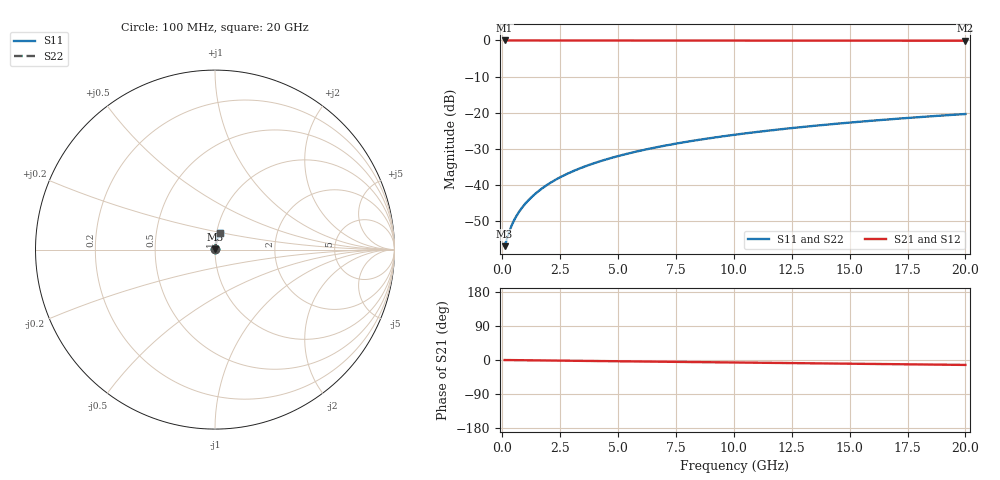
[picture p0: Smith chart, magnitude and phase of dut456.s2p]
! Touchstone file exported from HFSS 2026.1.0
!  File:  C:/ffzhzh/LocalFiles/Ansys_Project_Files/temp_train_BSMRDL_456_1783013396_53980.aedt
!  Generated:  01:31:15 AM Jul  3, 2026
!  Design:  BSMRDL
!  Project:  temp_train_BSMRDL_456_1783013396_53980
! Variables:
!  h_bsmrdl = 2.49um
!  h_ox = 20um
!  h_rdl = 5um
!  h_sub = 80um
!  h_tmrdl = 5um
!  h_tsv = 80um
!  h_via = 3um
!  l_bsmrdl = 177.75um
!  l_sub = 577.75um
!  l_tmrdl = 200um
!  m_sub = 200um
!  pitch = 41.93um
!  r_tsv = 6um
!  s_tmrdl = 10um
!  w_bsmrdl = 27.97um
!  w_sub = 500um
!  w_tmrdl = 12um
!  x_tsv_center1 = 206um
!  x_tsv_center2 = 411.72um
!  x_tsv_center3 = 623.72um
!  x_tsv_center4 = 829.44um
!  x_tsv_center5 = 1041.44um
!  x_tsv_center6 = 1247.16um
# GHz S MA R 50.000000
! Terminal data exported
! Port[1] = BSM_RDL1_1_T1
! Port[2] = BSM_RDL1_1_T2
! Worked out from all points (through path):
!   200 points, 100 MHz to 20 GHz, reference 50 ohm
!   highest |S21| = -0.01 dB at 100 MHz (marker M1); lowest = -0.1 dB at 20 GHz (marker M2)
!   group delay of S21, straight-line fit = 1.8 ps
!   lowest |S11| = -56.9 dB at 100 MHz (marker M3), VSWR 1.00, Z = 50.1 + j0.0612 ohm
!   |S11| at or under -10 dB: start of sweep to end of sweep
!   |S22| runs from -56.9 to -20.4 dB; largest |S21 - S12| = 3.1e-15
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0.1  0.001423 25.4  0.9987 -0.1  0.9987 -0.1  0.001423 25.4
! Gamma 0 0 0 0
! Port Impedance 50 0 50 0
0.3  0.002259 51.1  0.9986 -0.2  0.9986 -0.2  0.002259 51.1
0.4  0.002733 56.8  0.9985 -0.3  0.9985 -0.3  0.002733 56.8
0.5  0.003205 60.7  0.9984 -0.3  0.9984 -0.3  0.003205 60.7
0.6  0.003672 63.6  0.9984 -0.4  0.9984 -0.4  0.003672 63.6
0.8  0.004603 67.9  0.9983 -0.5  0.9983 -0.5  0.004603 67.9
1  0.005538 71.0  0.9982 -0.7  0.9982 -0.7  0.005538 71.0
1.2  0.006482 73.2  0.9982 -0.8  0.9982 -0.8  0.006482 73.2
1.4  0.007436 75.0  0.9982 -0.9  0.9982 -0.9  0.007436 75.0
1.7  0.00888 76.9  0.9981 -1.1  0.9981 -1.1  0.00888 76.9
2.2  0.01131 78.9  0.998 -1.5  0.998 -1.5  0.01131 78.9
2.8  0.01426 80.3  0.9979 -1.9  0.9979 -1.9  0.01426 80.3
3.5  0.01771 81.1  0.9978 -2.3  0.9978 -2.3  0.01771 81.1
4.2  0.02116 81.5  0.9977 -2.8  0.9977 -2.8  0.02116 81.5
5  0.0251 81.7  0.9975 -3.3  0.9975 -3.3  0.0251 81.7
5.9  0.02952 81.6  0.9972 -3.9  0.9972 -3.9  0.02952 81.6
6.8  0.03392 81.3  0.997 -4.5  0.997 -4.5  0.03392 81.3
8.3  0.0412 80.8  0.9964 -5.5  0.9964 -5.5  0.0412 80.8
10.1  0.04986 79.9  0.9957 -6.6  0.9957 -6.6  0.04986 79.9
13.4  0.06551 78.1  0.9943 -8.8  0.9943 -8.8  0.06551 78.1
16.7  0.08086 76.2  0.9926 -10.9  0.9926 -10.9  0.08086 76.2
20  0.09593 74.3  0.9908 -13.0  0.9908 -13.0  0.09593 74.3
